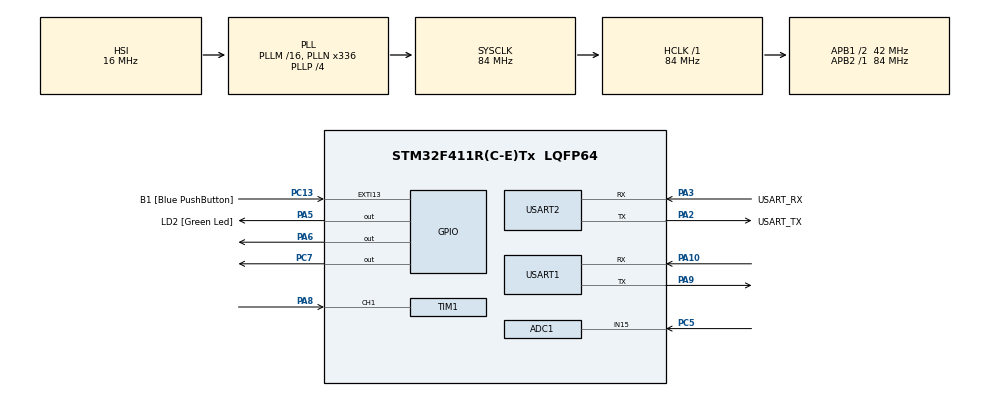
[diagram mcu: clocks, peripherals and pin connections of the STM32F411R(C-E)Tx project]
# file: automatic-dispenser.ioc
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Mcu.Family=STM32F4
RCC.CortexFreq_Value=84000000
PA14.GPIO_Label=TCK
RCC.SYSCLKSource=RCC_SYSCLKSOURCE_PLLCLK
ProjectManager.StackSize=0x400
TIM1.Prescaler=83
PH0\ -\ OSC_IN.Signal=RCC_OSC_IN
RCC.HCLKFreq_Value=84000000
RCC.APB2TimFreq_Value=84000000
PC7.Signal=GPIO_Output
RCC.AHBFreq_Value=84000000
ADC1.Channel-0\#ChannelRegularConversion=ADC_CHANNEL_15
RCC.HSE_VALUE=8000000
PC13-ANTI_TAMP.Signal=GPXTI13
SH.ADCx_IN15.0=ADC1_IN15,IN15
PC14-OSC32_IN.Mode=LSE-External-Oscillator
PA14.Mode=Serial_Wire
PA8.Signal=S_TIM1_CH1
VP_TIM1_VS_ClockSourceINT.Mode=Internal
ADC1.SamplingTime-0\#ChannelRegularConversion=ADC_SAMPLETIME_3CYCLES
RCC.FLatency-AdvancedSettings=FLASH_LATENCY_2
Mcu.Package=LQFP64
PA6.Signal=GPIO_Output
USART2.VirtualMode=VM_ASYNC
PA2.GPIO_Label=USART_TX
PA10.Signal=USART1_RX
RCC.APB1TimFreq_Value=84000000
PC5.Signal=ADCx_IN15
TIM1.Period=0xffff-1
PA3.Signal=USART2_RX
PB3.GPIO_Label=SWO
PC15-OSC32_OUT.Mode=LSE-External-Oscillator
ADC1.Rank-0\#ChannelRegularConversion=1
PA10.Mode=Asynchronous
PC13-ANTI_TAMP.GPIO_Label=B1 [Blue PushButton]
PH1\ -\ OSC_OUT.Mode=HSE-External-Clock-Source
RCC.APB1CLKDivider=RCC_HCLK_DIV2
PC14-OSC32_IN.Signal=RCC_OSC32_IN
PA13.Signal=SYS_JTMS-SWDIO
PA3.Mode=Asynchronous
PA9.Mode=Asynchronous
PH0\ -\ OSC_IN.Mode=HSE-External-Clock-Source
SH.S_TIM1_CH1.0=TIM1_CH1,Input_Capture1_from_TI1
ProjectManager.TargetToolchain=STM32CubeIDE
PA9.Signal=USART1_TX
PC15-OSC32_OUT.Signal=RCC_OSC32_OUT
PA5.Signal=GPIO_Output
PH1\ -\ OSC_OUT.Signal=RCC_OSC_OUT
board=NUCLEO-F411RE
RCC.VCOOutputFreq_Value=336000000
RCC.APB2Freq_Value=84000000
PA13.Mode=Serial_Wire
Mcu.Name=STM32F411R(C-E)Tx
PA13.GPIO_Label=TMS
PA2.Signal=USART2_TX
NVIC.TIM1_CC_IRQn=true\:0\:0\:false\:false\:true\:true\:true
RCC.48MHZClocksFreq_Value=84000000
PB3.Signal=SYS_JTDO-SWO
RCC.SYSCLKFreq_VALUE=84000000
ADC1.master=1
PA5.GPIO_Label=LD2 [Green Led]
TIM1.Channel-Input_Capture1_from_TI1=TIM_CHANNEL_1
USART1.VirtualMode=VM_ASYNC
PC13-ANTI_TAMP.GPIO_ModeDefaultEXTI=GPIO_MODE_IT_FALLING
PA14.Signal=SYS_JTCK-SWCLK
ProjectManager.HeapSize=0x200
RCC.HSI_VALUE=16000000
RCC.PLLP=RCC_PLLP_DIV4
NVIC.PriorityGroup=NVIC_PRIORITYGROUP_0
ADC1.NbrOfConversionFlag=1
RCC.PLLN=336
PA2.Mode=Asynchronous
RCC.APB1Freq_Value=42000000
PA3.GPIO_Label=USART_RX

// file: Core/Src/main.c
/* USER CODE BEGIN Header */
/**
  ******************************************************************************
  * @file           : main.c
  * @brief          : Main program body
  ******************************************************************************
  * @attention
  *
  * <h2><center>&copy; Copyright (c) 2021 STMicroelectronics.
  * All rights reserved.</center></h2>
  *
  * This software component is licensed by ST under BSD 3-Clause license,
  * the "License"; You may not use this file except in compliance with the
  * License. You may obtain a copy of the License at:
  *                        opensource.org/licenses/BSD-3-Clause
  *
  ******************************************************************************
  */
/* USER CODE END Header */
#include "main.h"

ADC_HandleTypeDef hadc1;

TIM_HandleTypeDef htim1;

UART_HandleTypeDef huart1;
UART_HandleTypeDef huart2;

void SystemClock_Config(void);
static void MX_GPIO_Init(void);
static void MX_USART2_UART_Init(void);
static void MX_TIM1_Init(void);
static void MX_USART1_UART_Init(void);
static void MX_ADC1_Init(void);

/* USER CODE BEGIN 0 */
#define Sound_Velocity 0.035065	// sound velocity in cm/uS
uint32_t IC_Val1 = 0;
uint32_t IC_Val2 = 0;
uint32_t Difference = 0;
uint8_t Is_First_Captured = 0;  // is the first value captured ?
uint8_t Distance  = 0;

#define TRIG_PIN GPIO_PIN_7
#define TRIG_PORT GPIOC

int dispensing = 0;
// Let's write the callback function
int readWaterLevel(void){
	HAL_ADC_Start(&hadc1);
	HAL_ADC_PollForConversion(&hadc1, 1);
	if(HAL_ADC_GetValue(&hadc1)>4000)return 2;
	else return 1;
}

/* USER CODE END 0 */

int main(void)
{

  /* MCU Configuration--------------------------------------------------------*/

  /* Reset of all peripherals, Initializes the Flash interface and the Systick. */
  HAL_Init();

  /* Configure the system clock */
  SystemClock_Config();

  /* Initialize all configured peripherals */
  MX_GPIO_Init();
  MX_USART2_UART_Init();
  MX_TIM1_Init();
  MX_USART1_UART_Init();
  MX_ADC1_Init();
  /* USER CODE BEGIN 2 */
  HAL_TIM_IC_Start_IT(&htim1, TIM_CHANNEL_1);
  /* USER CODE END 2 */

  /* Infinite loop */
  /* USER CODE BEGIN WHILE */
  while (1)
  {
	  HCSR04_Read();
	  int buffer;
	  //HAL_UART_Transmit(&huart2, buffer, strlen(buffer), 1000);
	  if(Distance < 10){
		  if(dispensing == 0){
			  buffer = readWaterLevel();
			  HAL_GPIO_WritePin(GPIOA,GPIO_PIN_6,1);
			  HAL_GPIO_WritePin(LD2_GPIO_Port, LD2_Pin, 1);
			  HAL_Delay(300);
			  dispensing = 1;
			  HAL_GPIO_WritePin(GPIOA,GPIO_PIN_6,0);
			  HAL_GPIO_WritePin(LD2_GPIO_Port, LD2_Pin, 0);
			  HAL_UART_Transmit(&huart1, &buffer, sizeof(buffer), 1000);
		  }
	  }
	  else{
		  dispensing = 0;
		  HAL_GPIO_WritePin(LD2_GPIO_Port, LD2_Pin, 0);
		  HAL_GPIO_WritePin(GPIOA,GPIO_PIN_6,0);
	  }
    /* USER CODE END WHILE */

  }
}

void SystemClock_Config(void)
{
  RCC_OscInitTypeDef RCC_OscInitStruct = {0};
  RCC_ClkInitTypeDef RCC_ClkInitStruct = {0};

  /** Configure the main internal regulator output voltage
  */
  __HAL_RCC_PWR_CLK_ENABLE();
  __HAL_PWR_VOLTAGESCALING_CONFIG(PWR_REGULATOR_VOLTAGE_SCALE1);
  /** Initializes the RCC Oscillators according to the specified parameters
  * in the RCC_OscInitTypeDef structure.
  */
  RCC_OscInitStruct.OscillatorType = RCC_OSCILLATORTYPE_HSI;
  RCC_OscInitStruct.HSIState = RCC_HSI_ON;
  RCC_OscInitStruct.HSICalibrationValue = RCC_HSICALIBRATION_DEFAULT;
  RCC_OscInitStruct.PLL.PLLState = RCC_PLL_ON;
  RCC_OscInitStruct.PLL.PLLSource = RCC_PLLSOURCE_HSI;
  RCC_OscInitStruct.PLL.PLLM = 16;
  RCC_OscInitStruct.PLL.PLLN = 336;
  RCC_OscInitStruct.PLL.PLLP = RCC_PLLP_DIV4;
  RCC_OscInitStruct.PLL.PLLQ = 4;
  if (HAL_RCC_OscConfig(&RCC_OscInitStruct) != HAL_OK)
  {
    Error_Handler();
  }
  /** Initializes the CPU, AHB and APB buses clocks
  */
  RCC_ClkInitStruct.ClockType = RCC_CLOCKTYPE_HCLK|RCC_CLOCKTYPE_SYSCLK
                              |RCC_CLOCKTYPE_PCLK1|RCC_CLOCKTYPE_PCLK2;
  RCC_ClkInitStruct.SYSCLKSource = RCC_SYSCLKSOURCE_PLLCLK;
  RCC_ClkInitStruct.AHBCLKDivider = RCC_SYSCLK_DIV1;
  RCC_ClkInitStruct.APB1CLKDivider = RCC_HCLK_DIV2;
  RCC_ClkInitStruct.APB2CLKDivider = RCC_HCLK_DIV1;

  if (HAL_RCC_ClockConfig(&RCC_ClkInitStruct, FLASH_LATENCY_2) != HAL_OK)
  {
    Error_Handler();
  }
}

static void MX_ADC1_Init(void)
{

  ADC_ChannelConfTypeDef sConfig = {0};

  /** Configure the global features of the ADC (Clock, Resolution, Data Alignment and number of conversion)
  */
  hadc1.Instance = ADC1;
  hadc1.Init.ClockPrescaler = ADC_CLOCK_SYNC_PCLK_DIV4;
  hadc1.Init.Resolution = ADC_RESOLUTION_12B;
  hadc1.Init.ScanConvMode = DISABLE;
  hadc1.Init.ContinuousConvMode = DISABLE;
  hadc1.Init.DiscontinuousConvMode = DISABLE;
  hadc1.Init.ExternalTrigConvEdge = ADC_EXTERNALTRIGCONVEDGE_NONE;
  hadc1.Init.ExternalTrigConv = ADC_SOFTWARE_START;
  hadc1.Init.DataAlign = ADC_DATAALIGN_RIGHT;
  hadc1.Init.NbrOfConversion = 1;
  hadc1.Init.DMAContinuousRequests = DISABLE;
  hadc1.Init.EOCSelection = ADC_EOC_SINGLE_CONV;
  if (HAL_ADC_Init(&hadc1) != HAL_OK)
  {
    Error_Handler();
  }
  /** Configure for the selected ADC regular channel its corresponding rank in the sequencer and its sample time.
  */
  sConfig.Channel = ADC_CHANNEL_15;
  sConfig.Rank = 1;
  sConfig.SamplingTime = ADC_SAMPLETIME_3CYCLES;
  if (HAL_ADC_ConfigChannel(&hadc1, &sConfig) != HAL_OK)
  {
    Error_Handler();
  }

}

static void MX_TIM1_Init(void)
{

  TIM_ClockConfigTypeDef sClockSourceConfig = {0};
  TIM_MasterConfigTypeDef sMasterConfig = {0};
  TIM_IC_InitTypeDef sConfigIC = {0};

  htim1.Instance = TIM1;
  htim1.Init.Prescaler = 83;
  htim1.Init.CounterMode = TIM_COUNTERMODE_UP;
  htim1.Init.Period = 0xffff-1;
  htim1.Init.ClockDivision = TIM_CLOCKDIVISION_DIV1;
  htim1.Init.RepetitionCounter = 0;
  htim1.Init.AutoReloadPreload = TIM_AUTORELOAD_PRELOAD_DISABLE;
  if (HAL_TIM_Base_Init(&htim1) != HAL_OK)
  {
    Error_Handler();
  }
  sClockSourceConfig.ClockSource = TIM_CLOCKSOURCE_INTERNAL;
  if (HAL_TIM_ConfigClockSource(&htim1, &sClockSourceConfig) != HAL_OK)
  {
    Error_Handler();
  }
  if (HAL_TIM_IC_Init(&htim1) != HAL_OK)
  {
    Error_Handler();
  }
  sMasterConfig.MasterOutputTrigger = TIM_TRGO_RESET;
  sMasterConfig.MasterSlaveMode = TIM_MASTERSLAVEMODE_DISABLE;
  if (HAL_TIMEx_MasterConfigSynchronization(&htim1, &sMasterConfig) != HAL_OK)
  {
    Error_Handler();
  }
  sConfigIC.ICPolarity = TIM_INPUTCHANNELPOLARITY_RISING;
  sConfigIC.ICSelection = TIM_ICSELECTION_DIRECTTI;
  sConfigIC.ICPrescaler = TIM_ICPSC_DIV1;
  sConfigIC.ICFilter = 0;
  if (HAL_TIM_IC_ConfigChannel(&htim1, &sConfigIC, TIM_CHANNEL_1) != HAL_OK)
  {
    Error_Handler();
  }

}

static void MX_USART1_UART_Init(void)
{

  huart1.Instance = USART1;
  huart1.Init.BaudRate = 115200;
  huart1.Init.WordLength = UART_WORDLENGTH_8B;
  huart1.Init.StopBits = UART_STOPBITS_1;
  huart1.Init.Parity = UART_PARITY_NONE;
  huart1.Init.Mode = UART_MODE_TX_RX;
  huart1.Init.HwFlowCtl = UART_HWCONTROL_NONE;
  huart1.Init.OverSampling = UART_OVERSAMPLING_16;
  if (HAL_UART_Init(&huart1) != HAL_OK)
  {
    Error_Handler();
  }

}

static void MX_USART2_UART_Init(void)
{

  huart2.Instance = USART2;
  huart2.Init.BaudRate = 115200;
  huart2.Init.WordLength = UART_WORDLENGTH_8B;
  huart2.Init.StopBits = UART_STOPBITS_1;
  huart2.Init.Parity = UART_PARITY_NONE;
  huart2.Init.Mode = UART_MODE_TX_RX;
  huart2.Init.HwFlowCtl = UART_HWCONTROL_NONE;
  huart2.Init.OverSampling = UART_OVERSAMPLING_16;
  if (HAL_UART_Init(&huart2) != HAL_OK)
  {
    Error_Handler();
  }

}

static void MX_GPIO_Init(void)
{
  GPIO_InitTypeDef GPIO_InitStruct = {0};

  /* GPIO Ports Clock Enable */
  __HAL_RCC_GPIOC_CLK_ENABLE();
  __HAL_RCC_GPIOH_CLK_ENABLE();
  __HAL_RCC_GPIOA_CLK_ENABLE();
  __HAL_RCC_GPIOB_CLK_ENABLE();

  /*Configure GPIO pin Output Level */
  HAL_GPIO_WritePin(GPIOA, LD2_Pin|GPIO_PIN_6, GPIO_PIN_RESET);

  /*Configure GPIO pin Output Level */
  HAL_GPIO_WritePin(GPIOC, GPIO_PIN_7, GPIO_PIN_RESET);

  /*Configure GPIO pin : B1_Pin */
  GPIO_InitStruct.Pin = B1_Pin;
  GPIO_InitStruct.Mode = GPIO_MODE_IT_FALLING;
  GPIO_InitStruct.Pull = GPIO_NOPULL;
  HAL_GPIO_Init(B1_GPIO_Port, &GPIO_InitStruct);

  /*Configure GPIO pins : LD2_Pin PA6 */
  GPIO_InitStruct.Pin = LD2_Pin|GPIO_PIN_6;
  GPIO_InitStruct.Mode = GPIO_MODE_OUTPUT_PP;
  GPIO_InitStruct.Pull = GPIO_NOPULL;
  GPIO_InitStruct.Speed = GPIO_SPEED_FREQ_LOW;
  HAL_GPIO_Init(GPIOA, &GPIO_InitStruct);

  /*Configure GPIO pin : PC7 */
  GPIO_InitStruct.Pin = GPIO_PIN_7;
  GPIO_InitStruct.Mode = GPIO_MODE_OUTPUT_PP;
  GPIO_InitStruct.Pull = GPIO_NOPULL;
  GPIO_InitStruct.Speed = GPIO_SPEED_FREQ_LOW;
  HAL_GPIO_Init(GPIOC, &GPIO_InitStruct);

}

/* USER CODE BEGIN 4 */
void HCSR04_Read (void)
{
	HAL_GPIO_WritePin(TRIG_PORT, TRIG_PIN, GPIO_PIN_SET);  // pull the TRIG pin HIGH
	HAL_Delay(10);  // wait for 10 us
	HAL_GPIO_WritePin(TRIG_PORT, TRIG_PIN, GPIO_PIN_RESET);  // pull the TRIG pin low

	__HAL_TIM_ENABLE_IT(&htim1, TIM_IT_CC1);
	HAL_Delay(400);
	/*char *buffer[100];
		  sprintf(buffer,"INIT\n\r");
		  HAL_UART_Transmit(&huart2, buffer, strlen(buffer), 1000);*/
}
void HAL_TIM_IC_CaptureCallback(TIM_HandleTypeDef *htim)
{
	/*char *buffer[100];
			  sprintf(buffer,"CALLBACK\n\r");
			  HAL_UART_Transmit(&huart2, buffer, strlen(buffer), 1000);*/
	if (htim->Channel == HAL_TIM_ACTIVE_CHANNEL_1)  // if the interrupt source is channel1
	{
		if (Is_First_Captured==0) // if the first value is not captured
		{
			IC_Val1 = HAL_TIM_ReadCapturedValue(htim, TIM_CHANNEL_1); // read the first value
			Is_First_Captured = 1;  // set the first captured as true
			// Now change the polarity to falling edge
			__HAL_TIM_SET_CAPTUREPOLARITY(htim, TIM_CHANNEL_1, TIM_INPUTCHANNELPOLARITY_FALLING);
		}

		else if (Is_First_Captured==1)   // if the first is already captured
		{
			IC_Val2 = HAL_TIM_ReadCapturedValue(htim, TIM_CHANNEL_1);  // read second value
			__HAL_TIM_SET_COUNTER(htim, 0);  // reset the counter

			if (IC_Val2 > IC_Val1)
			{
				Difference = IC_Val2-IC_Val1;
			}

			else if (IC_Val1 > IC_Val2)
			{
				Difference = (0xffff - IC_Val1) + IC_Val2;
			}

			Distance = Difference * Sound_Velocity/2;
			Is_First_Captured = 0; // set it back to false

			// set polarity to rising edge
			__HAL_TIM_SET_CAPTUREPOLARITY(htim, TIM_CHANNEL_1, TIM_INPUTCHANNELPOLARITY_RISING);
			__HAL_TIM_DISABLE_IT(&htim1, TIM_IT_CC1);
		}
	}
}
/* USER CODE END 4 */

void Error_Handler(void)
{
  __disable_irq();
  while (1)
  {
  }
}

/************************ (C) COPYRIGHT STMicroelectronics *****END OF FILE****/
